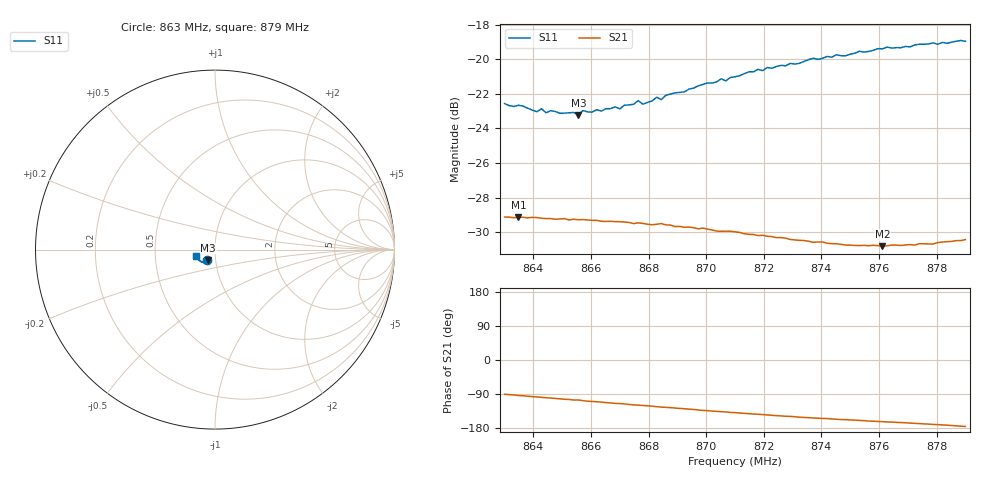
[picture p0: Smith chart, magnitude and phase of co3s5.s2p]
# HZ S RI R 50
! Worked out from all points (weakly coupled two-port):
!   101 points, 863 MHz to 879 MHz, reference 50 ohm
!   highest |S21| = -29.13 dB at 863.48 MHz (marker M1); lowest = -30.8 dB at 876.12 MHz (marker M2)
!   lowest |S11| = -23.2 dB at 865.56 MHz (marker M3), VSWR 1.15, Z = 46 - j5.33 ohm
!   |S11| at or under -10 dB: start of sweep to end of sweep
!   S12 and S22 are empty: the file has one direction only
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8.63e8  -0.0461 -0.0585  -0.000204 -0.035  0 0  0 0
8.6348e8  -0.0454 -0.058  -0.00223 -0.0349  0 0  0 0
8.6412e8  -0.042 -0.0567  -0.0045 -0.0345  0 0  0 0
8.6428e8  -0.0423 -0.0582  -0.00513 -0.0343  0 0  0 0
8.6444e8  -0.0411 -0.0568  -0.0058 -0.0341  0 0  0 0
8.646e8  -0.0417 -0.0575  -0.0062 -0.034  0 0  0 0
8.6556e8  -0.0382 -0.0576  -0.00912 -0.0331  0 0  0 0
8.6572e8  -0.039 -0.0595  -0.0102 -0.0328  0 0  0 0
8.6636e8  -0.038 -0.0598  -0.0122 -0.0317  0 0  0 0
8.6684e8  -0.0382 -0.0621  -0.014 -0.0309  0 0  0 0
8.67e8  -0.0359 -0.0623  -0.0143 -0.0307  0 0  0 0
8.6764e8  -0.0401 -0.0645  -0.0163 -0.0294  0 0  0 0
8.678e8  -0.0389 -0.0631  -0.0168 -0.029  0 0  0 0
8.6828e8  -0.0397 -0.0668  -0.0183 -0.0279  0 0  0 0
8.6844e8  -0.0396 -0.0654  -0.0188 -0.0277  0 0  0 0
8.686e8  -0.0401 -0.0678  -0.019 -0.0272  0 0  0 0
8.71e8  -0.0524 -0.072  -0.0239 -0.0208  0 0  0 0
8.718e8  -0.0588 -0.0728  -0.0247 -0.0185  0 0  0 0
8.7372e8  -0.0712 -0.0713  -0.0263 -0.0134  0 0  0 0
8.7612e8  -0.0893 -0.0595  -0.0275 -0.00858  0 0  0 0
8.7644e8  -0.0921 -0.0561  -0.0278 -0.00809  0 0  0 0
8.79e8  -0.1069 -0.0362  -0.03 -0.00245  0 0  0 0
